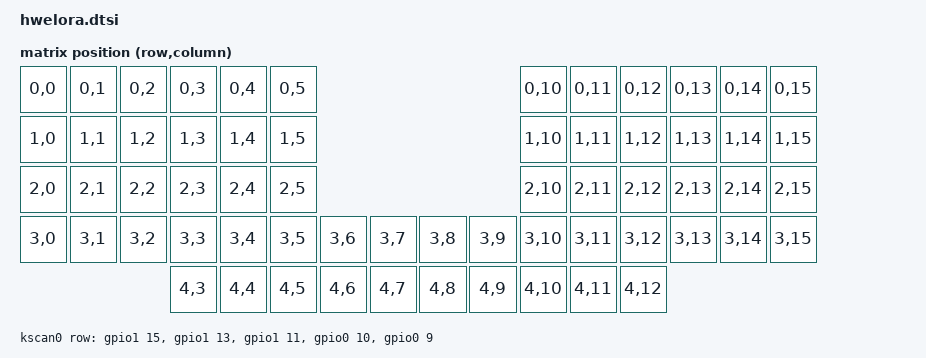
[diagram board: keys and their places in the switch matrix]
/*
 * Copyright (c) 2022 The ZMK Contributors
 *
 * SPDX-License-Identifier: MIT
 */
#include "hwelora-layout.dtsi"
#include <dt-bindings/zmk/matrix_transform.h>

/ {
    chosen {
		zmk,kscan = &kscan0;
		physical-layout = &hwelora_layout;
    };

    default_transform: keymap_transform_0 {
        compatible = "zmk,matrix-transform";
        columns = <16>;
        rows = <5>;
        map = <
RC(0,0) RC(0,1) RC(0,2) RC(0,3) RC(0,4) RC(0,5)                                 RC(0,10) RC(0,11) RC(0,12) RC(0,13) RC(0,14) RC(0,15)
RC(1,0) RC(1,1) RC(1,2) RC(1,3) RC(1,4) RC(1,5)                                 RC(1,10) RC(1,11) RC(1,12) RC(1,13) RC(1,14) RC(1,15)
RC(2,0) RC(2,1) RC(2,2) RC(2,3) RC(2,4) RC(2,5) 								RC(2,10) RC(2,11) RC(2,12) RC(2,13) RC(2,14) RC(2,15)
RC(3,0) RC(3,1) RC(3,2) RC(3,3) RC(3,4) RC(3,5) RC(3,6) RC(3,7) RC(3,8) RC(3,9) RC(3,10) RC(3,11) RC(3,12) RC(3,13) RC(3,14) RC(3,15)
                        RC(4,3) RC(4,4) RC(4,5) RC(4,6) RC(4,7) RC(4,8) RC(4,9) RC(4,10) RC(4,11) RC(4,12)
        >;
    };

kscan0: kscan {
        compatible = "zmk,kscan-gpio-matrix";
        diode-direction = "col2row";
        wakeup-source;

        row-gpios
            = <&gpio1 15 (GPIO_ACTIVE_HIGH | GPIO_PULL_DOWN)> // Row A from the schematic file
            , <&gpio1 13 (GPIO_ACTIVE_HIGH | GPIO_PULL_DOWN)> // Row B from the schematic file
            , <&gpio1 11 (GPIO_ACTIVE_HIGH | GPIO_PULL_DOWN)> // Row C from the schematic file
            , <&gpio0 10 (GPIO_ACTIVE_HIGH | GPIO_PULL_DOWN)> // Row D from the schematic file
            , <&gpio0 9  (GPIO_ACTIVE_HIGH | GPIO_PULL_DOWN)> // Row E from the schematic file
            ;

    };
};

&spi1 {
    compatible = "nordic,nrf-spim";
    status = "okay";
    mosi-pin = <31>;  // WS2812 data line connected here
    sck-pin = <5>;    // Required for SPI peripheral, not wired
    miso-pin = <7>;   // Required for SPI peripheral, not wired

    led_strip: ws2812@0 {
        compatible = "worldsemi,ws2812-spi";
        label = "WS2812";
        reg = <0>;
        spi-max-frequency = <4000000>;
        chain-length = <35>;  // Adjust to match your actual LED count
        spi-one-frame = <0x70>;
        spi-zero-frame = <0x40>;
        color-mapping      = <1 0 2>; // GRB
    };
};

&{/} {
    chosen {
        zmk,underglow = &led_strip;
    };
};

